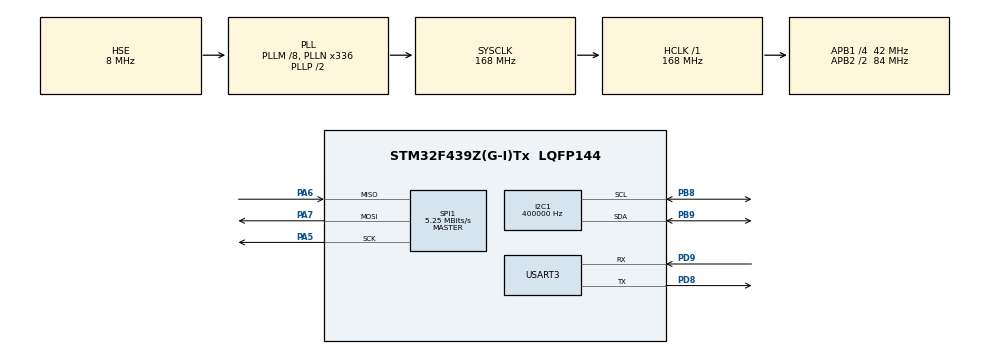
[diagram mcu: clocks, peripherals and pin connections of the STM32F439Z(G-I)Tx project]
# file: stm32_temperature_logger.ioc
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I2C1.ClockSpeed=400000
I2C1.I2C_Mode=I2C_Fast
Mcu.Family=STM32F4
Mcu.Name=STM32F439Z(G-I)Tx
Mcu.Package=LQFP144
NVIC.PriorityGroup=NVIC_PRIORITYGROUP_4
PA5.Mode=Full_Duplex_Master
PA5.Signal=SPI1_SCK
PA6.Mode=Full_Duplex_Master
PA6.Signal=SPI1_MISO
PA7.Mode=Full_Duplex_Master
PA7.Signal=SPI1_MOSI
PB8.Mode=I2C
PB8.Signal=I2C1_SCL
PB9.Mode=I2C
PB9.Signal=I2C1_SDA
PC14/OSC32_IN.Mode=LSE-External-Clock-Source
PC14/OSC32_IN.Signal=RCC_OSC32_IN
PC15/OSC32_OUT.Mode=LSE-External-Clock-Source
PC15/OSC32_OUT.Signal=RCC_OSC32_OUT
PD8.Mode=Asynchronous
PD8.Signal=USART3_TX
PD9.Mode=Asynchronous
PD9.Signal=USART3_RX
PH0/OSC_IN.Mode=HSE-External-Clock-Source
PH0/OSC_IN.Signal=RCC_OSC_IN
PH1/OSC_OUT.Mode=HSE-External-Clock-Source
PH1/OSC_OUT.Signal=RCC_OSC_OUT
ProjectManager.HeapSize=0x200
ProjectManager.StackSize=0x400
ProjectManager.TargetToolchain=STM32CubeIDE
RCC.48MHZClocksFreq_Value=84000000
RCC.AHBFreq_Value=168000000
RCC.APB1CLKDivider=RCC_HCLK_DIV4
RCC.APB1Freq_Value=42000000
RCC.APB1TimFreq_Value=84000000
RCC.APB2CLKDivider=RCC_HCLK_DIV2
RCC.APB2Freq_Value=84000000
RCC.APB2TimFreq_Value=168000000
RCC.CortexFreq_Value=168000000
RCC.HCLKFreq_Value=168000000
RCC.HSE_VALUE=8000000
RCC.HSI_VALUE=16000000
RCC.LSE_VALUE=32768
RCC.PLLM=8
RCC.PLLN=336
RCC.PLLSourceVirtual=RCC_PLLSOURCE_HSE
RCC.SYSCLKFreq_VALUE=168000000
RCC.SYSCLKSource=RCC_SYSCLKSOURCE_PLLCLK
RCC.VCOOutputFreq_Value=336000000
SPI1.BaudRatePrescaler=SPI_BAUDRATEPRESCALER_16
SPI1.CalculateBaudRate=5.25 MBits/s
SPI1.Direction=SPI_DIRECTION_2LINES
SPI1.Mode=SPI_MODE_MASTER
SPI1.VirtualType=VM_MASTER
TIM2.Period=9999
TIM2.Prescaler=8399
USART3.VirtualMode=VM_ASYNC
VP_TIM2_VS_ClockSourceINT.Mode=Internal
board=custom

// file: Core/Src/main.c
/* USER CODE BEGIN Header */
/**
  ******************************************************************************
  * @file           : main.c
  * @brief          : Demo MCP9808 (tick 10ms, sample 100ms, UART logs)
  ******************************************************************************
  */
/* USER CODE END Header */

#include "main.h"
#include "i2c.h"
#include "spi.h"
#include "tim.h"
#include "usart.h"
#include "gpio.h"

/* USER CODE BEGIN Includes */
#include "scheduler.h"
#include "app_mcp9808.h"
#include "stm32f4xx_hal.h"
/* USER CODE END Includes */

/* USER CODE BEGIN PV */
static volatile int16_t  g_last_temp_x10 = 0;  /* watch variable */
static volatile uint32_t g_samples_ok    = 0U;
static volatile uint32_t g_samples_stale = 0U;
static volatile uint32_t g_samples_fault = 0U;
/* USER CODE END PV */

void SystemClock_Config(void);

/* USER CODE BEGIN 0 */

#define LOG_CRLF "\r\n"

/* Optional ANSI colors (PuTTY: depends on config; keep OFF by default) */
#define LOG_USE_ANSI_COLOR (0U)

#if (LOG_USE_ANSI_COLOR == 1U)
#define ANSI_RST "\x1B[0m"
#define ANSI_RED "\x1B[31m"
#define ANSI_GRN "\x1B[32m"
#define ANSI_YEL "\x1B[33m"
#define ANSI_BLU "\x1B[34m"
#else
#define ANSI_RST ""
#define ANSI_RED ""
#define ANSI_GRN ""
#define ANSI_YEL ""
#define ANSI_BLU ""
#endif

static uint16_t AppendUIntToBuf(char *buf, uint16_t pos, uint32_t val)
{
    char tmp[10];
    uint16_t i = 0U;

    if (val == 0UL)
    {
        buf[pos++] = '0';
        return pos;
    }

    while ((val != 0UL) && (i < (uint16_t)sizeof(tmp)))
    {
        tmp[i++] = (char)('0' + (char)(val % 10UL));
        val /= 10UL;
    }

    while (i > 0U)
    {
        i--;
        buf[pos++] = tmp[i];
    }

    return pos;
}

static const char* SensorStatus_ToStr(SensorStatus_t st)
{
    switch (st)
    {
        case SENSOR_OK:         return "OK";
        case SENSOR_ERR_INIT:   return "INIT";
        case SENSOR_ERR_PARAM:  return "PARAM";
        case SENSOR_ERR_I2C:    return "I2C";
        case SENSOR_ERR_STALE:  return "STALE";
        case SENSOR_ERR_TIMEOUT:return "TIMEO";
        default:                return "UNK";
    }
}

static const char* Color_For(SensorStatus_t st)
{
    switch (st)
    {
        case SENSOR_OK:        return ANSI_GRN;
        case SENSOR_ERR_STALE: return ANSI_YEL;
        case SENSOR_ERR_I2C:   return ANSI_RED;
        case SENSOR_ERR_TIMEOUT:return ANSI_RED;
        case SENSOR_ERR_INIT:  return ANSI_BLU;
        default:               return ANSI_BLU;
    }
}

static uint16_t AppendStr(char *buf, uint16_t pos, const char *s)
{
    while (*s != '\0')
    {
        buf[pos++] = *s++;
    }
    return pos;
}

static uint16_t AppendHex8(char *buf, uint16_t pos, uint8_t v)
{
    static const char hx[] = "0123456789ABCDEF";
    buf[pos++] = '0'; buf[pos++] = 'x';
    buf[pos++] = hx[(v >> 4) & 0x0F];
    buf[pos++] = hx[v & 0x0F];
    return pos;
}

/* temp_x10 -> "21.0C" or "NA" */
static uint16_t AppendTempX10(char *buf, uint16_t pos, SensorStatus_t st_temp, int16_t temp_x10)
{
    if (st_temp != SENSOR_OK)
    {
        return AppendStr(buf, pos, "NA");
    }

    if (temp_x10 < 0)
    {
        buf[pos++] = '-';
        temp_x10 = (int16_t)(-temp_x10);
    }

    pos = AppendUIntToBuf(buf, pos, (uint32_t)(temp_x10 / 10));
    buf[pos++] = '.';
    buf[pos++] = (char)('0' + (char)(temp_x10 % 10));
    buf[pos++] = 'C';
    return pos;
}

/* One-line log:
   [ts=012340ms] TEMP | READ  | st=OK    | T=21.0C | age=0000ms | rc=OK    | cnt=0 | note=...
*/
static void LogTempLine(const char *evt,
                        SensorStatus_t st_disp,
                        SensorStatus_t rc,
                        SensorStatus_t st_temp,
                        int16_t temp_x10,
                        uint32_t age_ms,
                        uint16_t cnt,
                        const char *note)
{
    char line[160];
    uint16_t pos = 0U;

    pos = AppendStr(line, pos, Color_For(st_disp));
    pos = AppendStr(line, pos, "[ts=");
    pos = AppendUIntToBuf(line, pos, (uint32_t)HAL_GetTick());
    pos = AppendStr(line, pos, "ms] TEMP | ");

    /* EVT */
    pos = AppendStr(line, pos, evt);
    pos = AppendStr(line, pos, " | st=");
    pos = AppendStr(line, pos, SensorStatus_ToStr(st_disp));

    pos = AppendStr(line, pos, " | T=");
    pos = AppendTempX10(line, pos, st_temp, temp_x10);

    pos = AppendStr(line, pos, " | age=");
    pos = AppendUIntToBuf(line, pos, age_ms);
    pos = AppendStr(line, pos, "ms");

    pos = AppendStr(line, pos, " | rc=");
    pos = AppendStr(line, pos, SensorStatus_ToStr(rc));

    pos = AppendStr(line, pos, " | cnt=");
    pos = AppendUIntToBuf(line, pos, (uint32_t)cnt);

    if ((note != NULL) && (note[0] != '\0'))
    {
        pos = AppendStr(line, pos, " | ");
        pos = AppendStr(line, pos, note);
    }

    pos = AppendStr(line, pos, ANSI_RST);
    pos = AppendStr(line, pos, LOG_CRLF);

    (void)HAL_UART_Transmit(&huart3, (uint8_t*)line, pos, 50U);
}

static void Uart_TxBytes(const uint8_t *buf, uint16_t len)
{
    (void)HAL_UART_Transmit(&huart3, (uint8_t*)buf, len, 50U);
}

static void Uart_TxString(const char *s)
{
    uint16_t len = 0U;
    while (s[len] != '\0') { len++; }
    Uart_TxBytes((const uint8_t*)s, len);
}

static void Uart_TxTempX10(int16_t temp_x10)
{
    char line[40];
    uint16_t pos = 0U;
    uint32_t abs_x10;
    uint32_t int_part;
    uint32_t frac_part;

    line[pos++] = 'T';
    line[pos++] = '=';

    if (temp_x10 < 0)
    {
        line[pos++] = '-';
        abs_x10 = (uint32_t)(-(int32_t)temp_x10);
    }
    else
    {
        abs_x10 = (uint32_t)temp_x10;
    }

    int_part  = abs_x10 / 10UL;
    frac_part = abs_x10 % 10UL;

    pos = AppendUIntToBuf(line, pos, int_part);
    line[pos++] = '.';
    line[pos++] = (char)('0' + (char)frac_part);
    line[pos++] = 'C';
    line[pos++] = '\r';
    line[pos++] = '\n';
    line[pos++] = '\0';

    Uart_TxString(line);
}

static void Uart_TxStatusLine(const char *tag, uint32_t val)
{
    char line[64];
    uint16_t pos = 0U;

    while (*tag != '\0') { line[pos++] = *tag++; }
    line[pos++] = '=';
    pos = AppendUIntToBuf(line, pos, val);
    line[pos++] = '\r';
    line[pos++] = '\n';
    line[pos++] = '\0';

    Uart_TxString(line);
}

void Scheduler_Task(void)
{
    SensorStatus_t st_lat  = SENSOR_OK;
    SensorStatus_t st_last = SENSOR_OK;
    SensorStatus_t st_temp = SENSOR_OK;

    int16_t  t_x10 = 0;
    uint16_t age_ticks = 0U;
    uint16_t cnt = 0U;

    (void)Sensor_Tick();

    (void)Sensor_GetLatchedStatus(&st_lat);
    (void)Sensor_GetLastStatus(&st_last);
    (void)Sensor_GetAgeTicks(&age_ticks);
    (void)Sensor_GetFaultCount(&cnt);

    const uint32_t age_ms = (uint32_t)age_ticks * 10U;

    static uint8_t was_fault = 0U;
    static uint8_t was_stale = 0U;
    static uint8_t init_logged = 0U;

    /* NEW: remember last logged ERR to avoid spam */
    static SensorStatus_t last_logged_err = SENSOR_OK;

    if (init_logged == 0U)
    {
        init_logged = 1U;
        LogTempLine("INIT ", SENSOR_ERR_INIT, SENSOR_OK, SENSOR_ERR_INIT, 0, age_ms, cnt, "addr=0x18");
    }

    if (st_lat != SENSOR_OK)
    {
        if (was_fault == 0U)
        {
            was_fault = 1U;
            LogTempLine("FAULT", SENSOR_ERR_I2C, st_lat, SENSOR_ERR_INIT, 0, age_ms, cnt, "latched=1");
        }

        /* Optional: reset ERR latch when entering FAULT */
        last_logged_err = SENSOR_OK;
        return;
    }
    was_fault = 0U;

    st_temp = Sensor_GetLastTemperature_x10(&t_x10);

    if (st_temp == SENSOR_OK)
    {
        /* returning to OK -> reset err latch */
        last_logged_err = SENSOR_OK;

        if (age_ticks == 0U)
        {
            g_last_temp_x10 = t_x10;
            LogTempLine("READ ", SENSOR_OK, SENSOR_OK, SENSOR_OK, t_x10, 0U, cnt, "");
        }
        was_stale = 0U;
        return;
    }

    if (st_temp == SENSOR_ERR_STALE)
    {
        /* returning to STALE -> reset err latch */
        last_logged_err = SENSOR_OK;

        if (was_stale == 0U)
        {
            was_stale = 1U;
            LogTempLine("STALE", SENSOR_ERR_STALE, SENSOR_OK, SENSOR_OK, t_x10, age_ms, cnt, "");
        }
        return;
    }

    if (st_temp == SENSOR_ERR_INIT)
    {
        /* returning to INIT -> reset err latch */
        last_logged_err = SENSOR_OK;
        return;
    }

    /* Autres erreurs non latched : log uniquement si changement */
    if (st_temp != last_logged_err)
    {
        last_logged_err = st_temp;
        LogTempLine("ERR  ", st_temp, st_temp, st_temp, 0, age_ms, cnt, "");
    }
}

/* Use SysTick (1ms) as scheduler tick source */
void HAL_SYSTICK_Callback(void)
{
    Scheduler_OnTick();
}

/* USER CODE END 0 */

int main(void)
{
  HAL_Init();
  SystemClock_Config();

  MX_GPIO_Init();
  MX_I2C1_Init();
  MX_SPI1_Init();
  MX_TIM2_Init();
  MX_USART3_UART_Init();

  /* USER CODE BEGIN 2 */
  (void)Scheduler_Init(10U); /* 10ms task period (SysTick=1ms) */

  if (Sensor_Init(0x18U) != SENSOR_OK)
  {
      Uart_TxString("Sensor init FAIL\r\n");
  }
  else
  {
      Uart_TxString("Sensor init OK\r\n");
  }

  while (1)
  {
      Scheduler_Process();

      /* démo: petite respiration CPU */
      HAL_Delay(1U);
  }
  /* USER CODE END 2 */
}

void SystemClock_Config(void)
{
  RCC_OscInitTypeDef RCC_OscInitStruct = {0};
  RCC_ClkInitTypeDef RCC_ClkInitStruct = {0};

  /** Configure the main internal regulator output voltage
  */
  __HAL_RCC_PWR_CLK_ENABLE();
  __HAL_PWR_VOLTAGESCALING_CONFIG(PWR_REGULATOR_VOLTAGE_SCALE1);

  /** Initializes the RCC Oscillators according to the specified parameters
  * in the RCC_OscInitTypeDef structure.
  */
  RCC_OscInitStruct.OscillatorType = RCC_OSCILLATORTYPE_HSE;
  RCC_OscInitStruct.HSEState = RCC_HSE_BYPASS;
  RCC_OscInitStruct.PLL.PLLState = RCC_PLL_ON;
  RCC_OscInitStruct.PLL.PLLSource = RCC_PLLSOURCE_HSE;
  RCC_OscInitStruct.PLL.PLLM = 8;
  RCC_OscInitStruct.PLL.PLLN = 336;
  RCC_OscInitStruct.PLL.PLLP = RCC_PLLP_DIV2;
  RCC_OscInitStruct.PLL.PLLQ = 4;
  if (HAL_RCC_OscConfig(&RCC_OscInitStruct) != HAL_OK)
  {
    Error_Handler();
  }

  /** Initializes the CPU, AHB and APB buses clocks
  */
  RCC_ClkInitStruct.ClockType = RCC_CLOCKTYPE_HCLK|RCC_CLOCKTYPE_SYSCLK
                              |RCC_CLOCKTYPE_PCLK1|RCC_CLOCKTYPE_PCLK2;
  RCC_ClkInitStruct.SYSCLKSource = RCC_SYSCLKSOURCE_PLLCLK;
  RCC_ClkInitStruct.AHBCLKDivider = RCC_SYSCLK_DIV1;
  RCC_ClkInitStruct.APB1CLKDivider = RCC_HCLK_DIV4;
  RCC_ClkInitStruct.APB2CLKDivider = RCC_HCLK_DIV2;

  if (HAL_RCC_ClockConfig(&RCC_ClkInitStruct, FLASH_LATENCY_5) != HAL_OK)
  {
    Error_Handler();
  }
}

void Error_Handler(void)
{
  __disable_irq();
  while (1)
  {
  }
}
